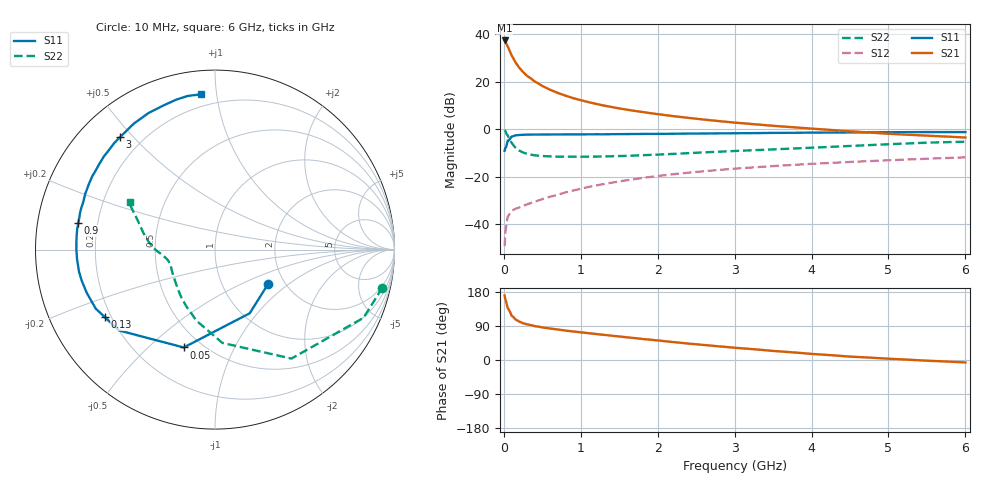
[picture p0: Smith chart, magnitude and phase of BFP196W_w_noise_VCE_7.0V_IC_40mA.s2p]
! Infineon Technologies  Discrete & RF Semiconductors
! BFP196W
! VCE =  7.0 V,  IC =  40 mA
! Common Emitter S-Parameters:  Jan 2017
# GHz  S  MA  R  50
!  f  S11  S21  S12  S22
! GHz  MAG  ANG  MAG  ANG  MAG  ANG  MAG  ANG
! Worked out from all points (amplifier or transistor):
!   77 points, 10 MHz to 6 GHz, reference 50 ohm
!   highest |S21| = 37.2 dB at 10 MHz (marker M1)
!   |S21| within 3 dB of that: start of sweep to 57.21 MHz
!   unconditionally stable (mu >= 1): 761.5 MHz to 3.26 GHz
!   at 130 MHz: K = 0.36, MSG = 31.6 dB, |S12| = -33.8 dB
!   at 2.2 GHz: K = 1.04, MAG = 11.0 dB, |S12| = -18.9 dB
!   at 6 GHz: K = 0.92, MSG = 4.2 dB, |S12| = -11.8 dB
!   lowest NFmin = 1.24 dB at 450 MHz
!   S11 on the Smith chart (normalised r, x): 10 MHz: 1.65, -0.72; 50 MHz: 0.40, -0.65; 130 MHz: 0.18, -0.27; 900 MHz: 0.13, +0.09; 3 GHz: 0.12, +0.46; 6 GHz: 0.13, +0.90
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0.01  0.3524 -32.7  72.75 170.1  0.0035 83.7  0.9566 -12.8
0.02  0.4041 -61.4  69.15 159.8  0.0068 70.5  0.9105 -24.7
0.05  0.5724 -107.7  54.54 137.0  0.0144 55.0  0.7414 -55.0
0.1  0.6993 -139.9  35.6 117.0  0.0192 41.5  0.5214 -85.5
0.13  0.7196 -148.4  29.39 112.0  0.0205 39.3  0.4492 -95.6
0.15  0.7415 -153.7  25.42 107.4  0.0213 37.9  0.4111 -104.2
0.2  0.7543 -161.5  19.55 101.4  0.0227 40.1  0.3561 -116.4
0.25  0.7625 -166.9  15.81 97.1  0.0246 41.9  0.3237 -125.8
0.3  0.7676 -170.8  13.26 94.2  0.0263 43.0  0.3037 -132.5
0.4  0.7706 -176.1  10.05 89.5  0.03 47.7  0.2827 -142.1
0.5  0.7722 -180.0  8.058 86.1  0.0339 50.8  0.2729 -148.5
0.6  0.7735 176.8  6.739 83.1  0.0382 53.9  0.2684 -153.0
0.7  0.7747 174.1  5.774 80.5  0.0418 55.4  0.2648 -156.3
0.9  0.776 169.0  4.491 75.3  0.0514 58.3  0.2641 -160.8
1.1  0.7795 164.7  3.695 70.8  0.0613 60.3  0.2651 -163.8
1.5  0.787 156.7  2.724 62.0  0.08 59.5  0.2729 -168.7
2.1  0.7991 145.3  1.971 49.5  0.1085 56.9  0.2974 -174.5
3  0.8199 130.3  1.374 32.3  0.148 50.0  0.3481 177.5
3.1  0.8218 128.8  1.333 30.8  0.1519 49.2  0.3535 176.5
4.1  0.8469 114.6  1.001 14.8  0.1905 41.3  0.4146 166.0
5.1  0.8636 103.7  0.786 2.4  0.2255 33.5  0.4902 156.1
6  0.8685 95.3  0.668 -6.4  0.256 26.6  0.5453 150.8
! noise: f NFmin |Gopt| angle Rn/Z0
0.45  1.24  0.48  -179  0.06
0.9  1.39  0.54  -173  0.06
1.9  2.21  0.69  -150  0.14
2.4  2.61  0.73  -145  0.23
